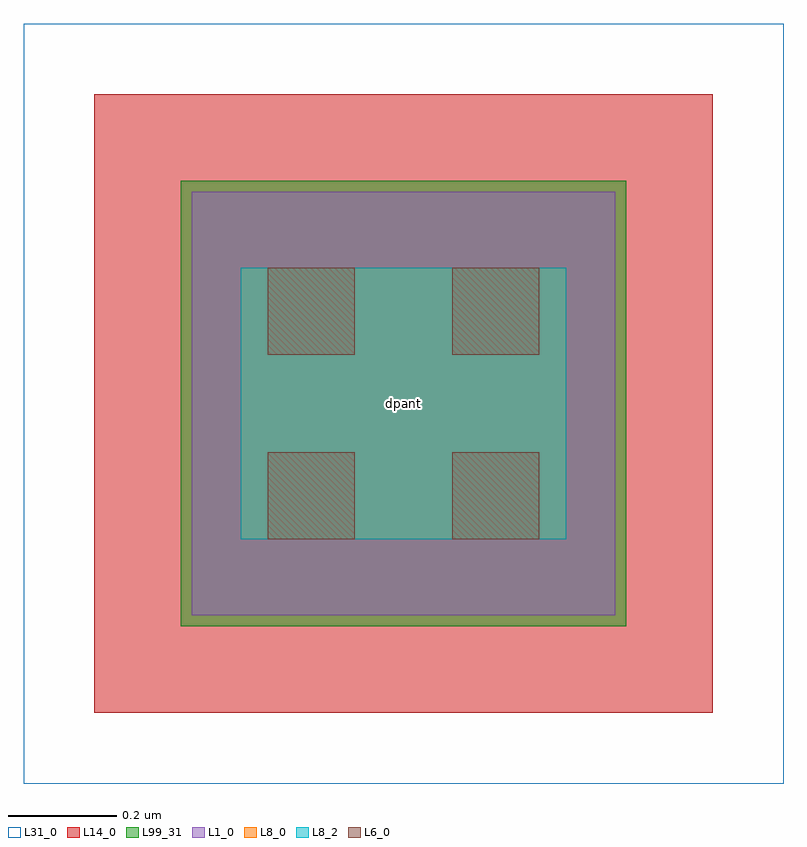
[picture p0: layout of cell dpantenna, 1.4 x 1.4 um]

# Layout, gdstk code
import gdstk
lib = gdstk.Library(unit=1e-6, precision=1e-09)
def R(c, l, rs):  # rectangles x0, y0, x1, y1
    for r in rs: c.add(gdstk.rectangle(r[:2], r[2:], *l))
L1_0 = (1, 0)
L6_0 = (6, 0)
L8_0 = (8, 0)
L8_2 = (8, 2)
L14_0 = (14, 0)
L31_0 = (31, 0)
L99_31 = (99, 31)

dpantenna = lib.new_cell('dpantenna')
R(dpantenna, L1_0, [(0,0,0.78,0.78)])
R(dpantenna, L6_0, [(0.14,0.14,0.3,0.3), (0.48,0.14,0.64,0.3), (0.14,0.48,0.3,0.64), (0.48,0.48,0.64,0.64)])
R(dpantenna, L8_0, [(0.09,0.14,0.69,0.64)])
R(dpantenna, L8_2, [(0.09,0.14,0.69,0.64)])
R(dpantenna, L14_0, [(-0.18,-0.18,0.96,0.96)])
R(dpantenna, L31_0, [(-0.31,-0.31,1.09,1.09)])
R(dpantenna, L99_31, [(-0.02,-0.02,0.8,0.8)])
dpantenna.add(gdstk.Label('dpant', (0.39,0.39), layer=63, texttype=0))

lib.write_gds('dpantenna.gds')
